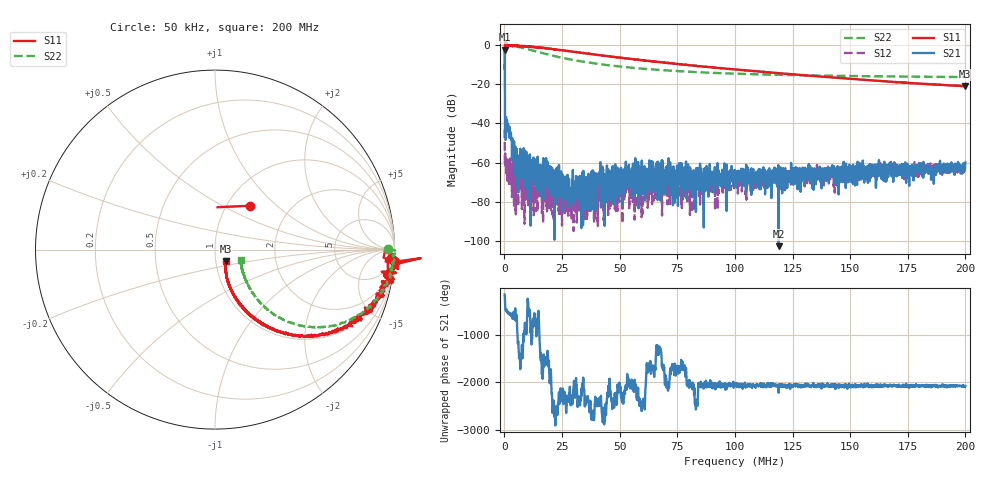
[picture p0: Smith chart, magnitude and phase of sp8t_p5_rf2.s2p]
! 26-Feb-26 12:17:35 PM
! E:\VNA_MEASUREMENTS\SP8T\SP8T_P5_RF2.S2P
! CHANNEL.1
! TR.MEASUREMENT
! CORRECTED.DATA
# GHZ S RI R 50.0
! FREQ.GHZ  S11RE  S11IM  S21RE  S21IM  S12RE  S12IM  S22RE  S22IM
!; PortSelection: Port_12
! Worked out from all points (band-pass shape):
!   2000 points, 50 kHz to 200 MHz, reference 50 ohm
!   highest |S21| = -2.27 dB at 50 kHz (marker M1); lowest = -102.8 dB at 119 MHz (marker M2)
!   |S21| within 3 dB of the highest: start of sweep to 85.17 kHz
!   lowest |S11| = -20.9 dB at 199.9 MHz (marker M3), VSWR 1.20, Z = 56.1 - j7.37 ohm
!   |S11| at or under -10 dB: start of sweep to 166.8 kHz; 78.74952 MHz to 78.78537 MHz (35.85 kHz wide, 0.0455 % of centre); 78.99 MHz to end of sweep
!   |S22| runs from -16.3 to 0.0 dB; largest |S21 - S12| = 0.77
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5e-05  0.1948 0.2445  -0.6821 -0.3572  0.00117 -0.0069  0.9622 0.0031
0.0012503  0.9713 -0.0138  -0.00865 -0.00404  0.000216 0.000267  0.9995 -0.0858
0.005551376  0.991 -0.1759  -0.000849 0.00088  0.000541 0.000104  0.8682 -0.311
0.008552126  0.9247 -0.2599  -0.00021 0.000125  -0.000177 0.000199  0.7425 -0.3929
0.01545385  0.7801 -0.392  7.27e-05 0.000256  9.4e-05 -0.000122  0.4972 -0.426
0.0176544  0.7348 -0.4232  -0.000793 -0.000365  -0.000154 -9.12e-05  0.4439 -0.415
0.02135533  0.6575 -0.4592  -0.00048 0.000424  -2.32e-05 2.16e-05  0.3744 -0.3862
0.02705675  0.5411 -0.4828  -0.000204 0.000269  -0.000146 -1.57e-05  0.3002 -0.3404
0.02915728  0.5034 -0.484  7.16e-05 7.91e-05  -9.83e-05 8e-05  0.2826 -0.3247
0.03345835  0.4354 -0.4744  -0.000115 -0.000217  -7.55e-05 9.13e-05  0.2525 -0.2955
0.04196048  0.3286 -0.4456  4.62e-05 0.000276  -8.56e-05 0.000154  0.2139 -0.2474
0.06676668  0.1658 -0.3368  -0.000177 0.000221  6.08e-05 0.000116  0.1696 -0.1644
0.07126781  0.155 -0.3169  -0.000303 0.000445  -7.53e-05 0.0004  0.1651 -0.155
0.07346836  0.1452 -0.3093  0.000387 0.000554  -0.000241 0.000167  0.1633 -0.1495
0.07586896  0.1356 -0.2994  0.00032 -1.55e-05  -9.95e-05 0.000116  0.1622 -0.1464
0.08227056  0.1208 -0.2767  -4.82e-05 -0.00016  -3.85e-05 -4.23e-05  0.1592 -0.1356
0.100075  0.0897 -0.2254  3.27e-05 0.000463  -0.000236 0.000482  0.1516 -0.113
0.1189797  0.0726 -0.181  3.7e-06 -6.2e-06  -0.000197 0.000512  0.1471 -0.0963
0.1333833  0.065 -0.1519  -6.3e-06 0.000626  -0.000164 0.00046  0.146 -0.087
0.1666917  0.0593 -0.1027  -8.4e-05 0.000743  6.54e-05 0.000589  0.1438 -0.0711
0.1999  0.0622 -0.0651  6.61e-05 0.000926  -1.98e-05 0.000751  0.1417 -0.0602
0.2  0.0621 -0.0652  0.000117 0.000994  0.000235 0.000744  0.1424 -0.0597
